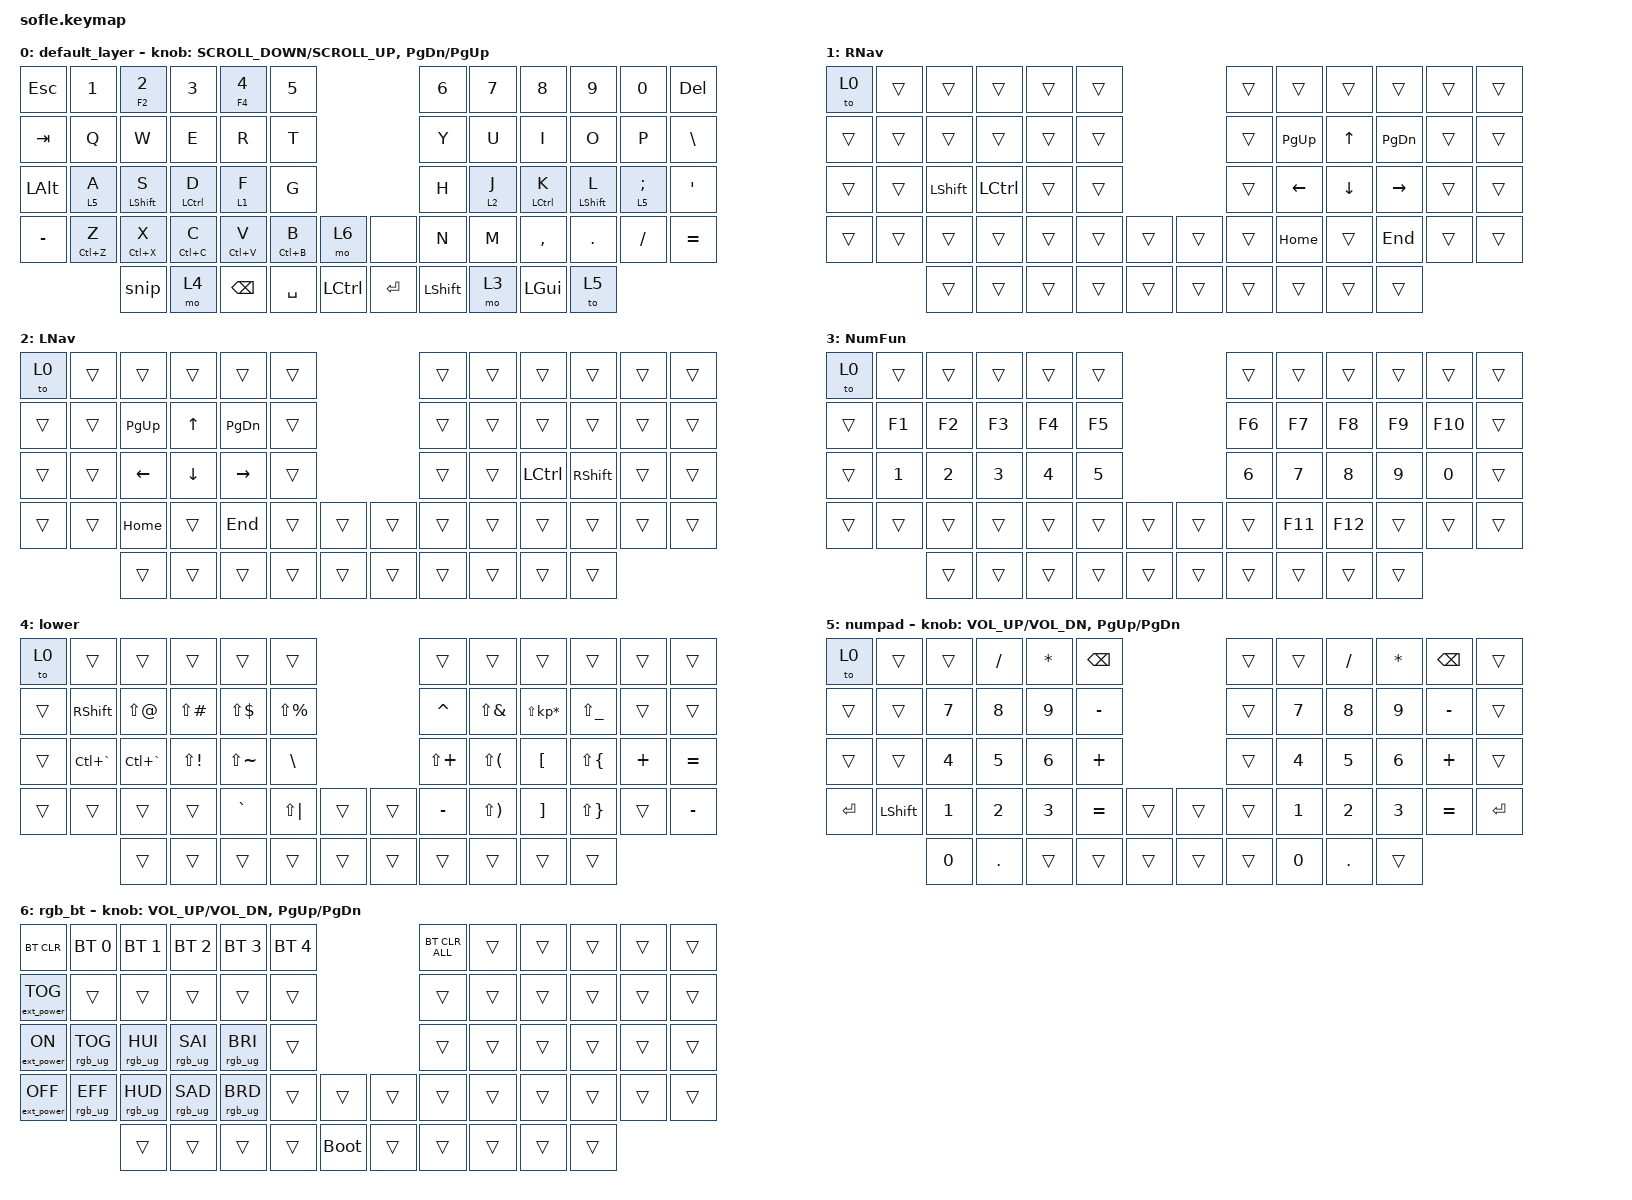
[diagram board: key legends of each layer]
#include <behaviors.dtsi>
#include <dt-bindings/zmk/bt.h>
#include <dt-bindings/zmk/ext_power.h>
#include <dt-bindings/zmk/keys.h>
#include <dt-bindings/zmk/outputs.h>
#include <dt-bindings/zmk/rgb.h>


&led_strip {
    chain-length = <35>;
};

&left_encoder {
    resolution = <2>;
};

&lt {
    tapping-term-ms = <200>;
}; 

/ {
    macros {
        snip: snip {
            compatible = "zmk,behavior-macro";
            #binding-cells = <0>;
            bindings = <&macro_tap &kp LG(LS(S))>;

            label = "SNIP";
        };
    };

    combos {
        compatible = "zmk,combos";

        find {
            bindings = <&kp LC(F)>;
            key-positions = <28 29>;
        };
    };

    behaviors {
        hm: homerow_mods {
            compatible = "zmk,behavior-hold-tap";
            #binding-cells = <2>;
            tapping-term-ms = <150>;
            quick-tap-ms = <0>;
            flavor = "tap-preferred";
            bindings = <&kp>, <&kp>;
        };
    };
    
    keymap {
        compatible = "zmk,keymap";

        default_layer {
            bindings = <
&kp ESCAPE    &kp N1       &mt F2 NUMBER_2   &kp N3       &mt F4 NUMBER_4  &kp N5                           &kp N6          &kp N7   &kp N8        &kp N9            &kp N0           &kp DELETE
&kp TAB       &kp Q        &kp W             &kp E        &kp R            &kp T                            &kp Y           &kp U    &kp I         &kp O             &kp P            &kp BACKSLASH
&kp LEFT_ALT  &lt 5 A      &hm LEFT_SHIFT S  &hm LCTRL D  &lt 1 F          &kp G                            &kp H           &lt 2 J  &hm LCTRL K   &hm LEFT_SHIFT L  &lt 5 SEMICOLON  &kp SQT
&kp MINUS     &hm LC(Z) Z  &hm LC(X) X       &hm LC(C) C  &hm LC(V) V      &hm LC(B) B &mo 6        &none    &kp N           &kp M    &kp COMMA     &kp DOT           &kp FSLH         &kp EQUAL
                           &snip             &mo 4        &kp BACKSPACE    &kp SPACE  &kp LCTRL    &kp RET  &kp LEFT_SHIFT  &mo 3    &kp LEFT_GUI  &to 5
            >;

            sensor-bindings =
                <&inc_dec_kp K_SCROLL_DOWN K_SCROLL_UP>,
                <&inc_dec_kp PAGE_DOWN PAGE_UP>;
        };

        RNav {
            bindings = <
&to 0   &trans  &trans     &trans     &trans  &trans                    &trans  &trans     &trans    &trans     &trans  &trans
&trans  &trans  &trans     &trans     &trans  &trans                    &trans  &kp PG_UP  &kp UP    &kp PG_DN  &trans  &trans
&trans  &trans  &kp LSHFT  &kp LCTRL  &trans  &trans                    &trans  &kp LEFT   &kp DOWN  &kp RIGHT  &trans  &trans
&trans  &trans  &trans     &trans     &trans  &trans  &trans    &trans  &trans  &kp HOME   &trans    &kp END    &trans  &trans
                &trans     &trans     &trans  &trans  &trans    &trans  &trans  &trans     &trans    &trans
            >;
        };

        LNav {
            bindings = <
&to 0   &trans  &trans     &trans    &trans     &trans                    &trans  &trans  &trans     &trans     &trans  &trans
&trans  &trans  &kp PG_UP  &kp UP    &kp PG_DN  &trans                    &trans  &trans  &trans     &trans     &trans  &trans
&trans  &trans  &kp LEFT   &kp DOWN  &kp RIGHT  &trans                    &trans  &trans  &kp LCTRL  &kp RSHFT  &trans  &trans
&trans  &trans  &kp HOME   &trans    &kp END    &trans  &trans    &trans  &trans  &trans  &trans     &trans     &trans  &trans
                &trans     &trans    &trans     &trans  &trans    &trans  &trans  &trans  &trans     &trans
            >;
        };

        NumFun {
            bindings = <
&to 0   &trans  &trans  &trans  &trans  &trans                    &trans  &trans   &trans   &trans  &trans   &trans
&trans  &kp F1  &kp F2  &kp F3  &kp F4  &kp F5                    &kp F6  &kp F7   &kp F8   &kp F9  &kp F10  &trans
&trans  &kp N1  &kp N2  &kp N3  &kp N4  &kp N5                    &kp N6  &kp N7   &kp N8   &kp N9  &kp N0   &trans
&trans  &trans  &trans  &trans  &trans  &trans  &trans    &trans  &trans  &kp F11  &kp F12  &trans  &trans   &trans
                &trans  &trans  &trans  &trans  &trans    &trans  &trans  &trans   &trans   &trans
            >;
        };

        lower {
            bindings = <
&to 0   &trans         &trans         &trans         &trans         &trans                           &trans        &trans             &trans               &trans              &trans    &trans
&trans  &kp RSHFT      &kp LS(AT)     &kp LS(POUND)  &kp LS(DLLR)   &kp LS(PRCNT)                    &kp CARET     &kp LS(AMPERSAND)  &kp LS(KP_ASTERISK)  &kp LS(UNDERSCORE)  &trans    &trans
&trans  &kp LC(GRAVE)  &kp LC(GRAVE)  &kp LS(EXCL)   &kp LS(TILDE)  &kp BSLH                         &kp LS(PLUS)  &kp LS(LPAR)       &kp LBKT             &kp LS(LBRC)        &kp PLUS  &kp EQUAL
&trans  &trans         &trans         &trans         &kp GRAVE      &kp LS(PIPE)   &trans    &trans  &kp MINUS     &kp LS(RPAR)       &kp RBKT             &kp LS(RBRC)        &trans    &kp MINUS
                       &trans         &trans         &trans         &trans         &trans    &trans  &trans        &trans             &trans               &trans
            >;
        };

        numpad {
            bindings = <
&to 0      &trans     &trans  &kp FSLH  &kp STAR  &kp BACKSPACE                    &trans  &trans  &kp FSLH  &kp STAR  &kp BACKSPACE  &trans
&trans     &trans     &kp N7  &kp N8    &kp N9    &kp MINUS                        &trans  &kp N7  &kp N8    &kp N9    &kp MINUS      &trans
&trans     &trans     &kp N4  &kp N5    &kp N6    &kp PLUS                         &trans  &kp N4  &kp N5    &kp N6    &kp PLUS       &trans
&kp ENTER  &kp LSHFT  &kp N1  &kp N2    &kp N3    &kp EQUAL      &trans    &trans  &trans  &kp N1  &kp N2    &kp N3    &kp EQUAL      &kp ENTER
                      &kp N0  &kp DOT   &trans    &trans         &trans    &trans  &trans  &kp N0  &kp DOT   &trans
            >;

            sensor-bindings = <&inc_dec_kp C_VOL_UP C_VOL_DN &inc_dec_kp PG_UP PG_DN>;
        };
        rgb_bt {
           bindings = <
&bt BT_CLR         &bt BT_SEL 0     &bt BT_SEL 1     &bt BT_SEL 2     &bt BT_SEL 3     &bt BT_SEL 4                         &bt BT_CLR_ALL  &trans  &trans  &trans  &trans  &trans
&ext_power EP_TOG  &trans           &trans           &trans           &trans           &trans                               &trans          &trans  &trans  &trans  &trans  &trans
&ext_power EP_ON   &rgb_ug RGB_TOG  &rgb_ug RGB_HUI  &rgb_ug RGB_SAI  &rgb_ug RGB_BRI  &trans                               &trans          &trans  &trans  &trans  &trans  &trans
&ext_power EP_OFF  &rgb_ug RGB_EFF  &rgb_ug RGB_HUD  &rgb_ug RGB_SAD  &rgb_ug RGB_BRD  &trans        &trans         &trans  &trans          &trans  &trans  &trans  &trans  &trans
                                    &trans           &trans           &trans           &trans        &bootloader    &trans  &trans          &trans  &trans  &trans
            >;

            sensor-bindings = <&inc_dec_kp C_VOL_UP C_VOL_DN &inc_dec_kp PG_UP PG_DN>;
        };
    };
};
